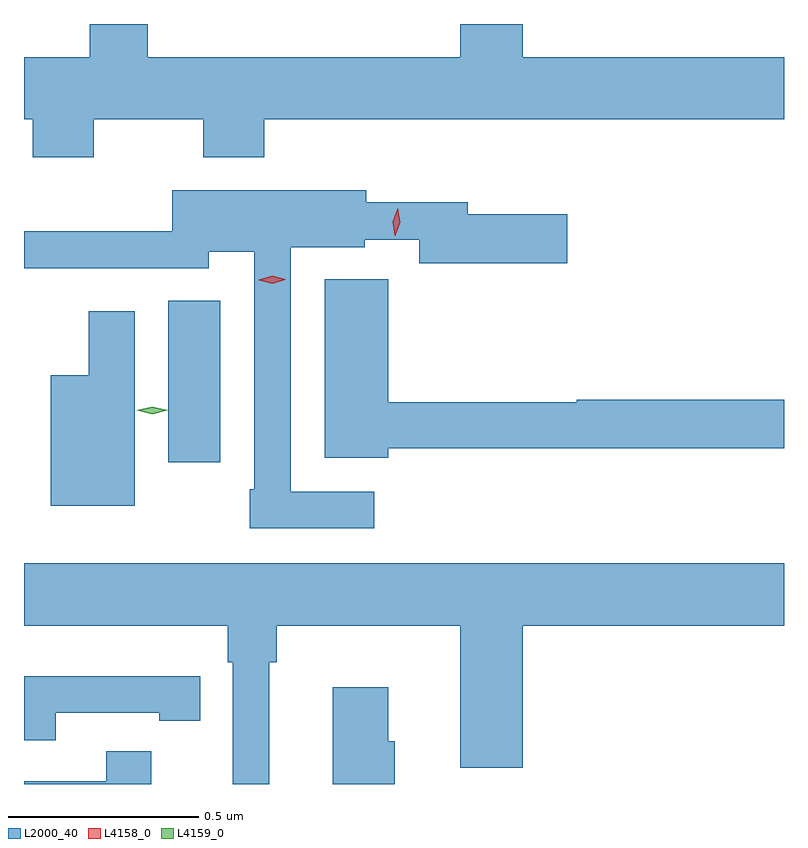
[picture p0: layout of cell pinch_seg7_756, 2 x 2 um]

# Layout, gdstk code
import gdstk
lib = gdstk.Library(unit=1e-6, precision=1e-09)
def R(c, l, rs):  # rectangles x0, y0, x1, y1
    for r in rs: c.add(gdstk.rectangle(r[:2], r[2:], *l))
def P(c, l, *ps):  # polygons
    for p in ps: c.add(gdstk.Polygon(p, *l))
L2000_40 = (2000, 40)
L4158_0 = (4158, 0)
L4159_0 = (4159, 0)

pinch_seg7_756 = lib.new_cell('pinch_seg7_756')
R(pinch_seg7_756, L2000_40, [(296.108,999.714,296.245,1000.139)])
P(pinch_seg7_756, L2000_40, [(295.911,1000.616),(296.2,1000.616),(296.2,1000.517),(296.36,1000.517),(296.36,1000.616),(297.728,1000.616),(297.728,1000.78),(297.04,1000.78),(297.04,1000.867),(296.876,1000.867),(296.876,1000.78),(296.053,1000.78),(296.053,1000.867),(295.901,1000.867),(295.901,1000.78),(295.728,1000.78),(295.728,1000.616),(295.751,1000.616),(295.751,1000.517),(295.911,1000.517)],
  [(296.65,999.636),(296.43,999.636),(296.43,1000.28),(296.625,1000.28),(296.625,1000.299),(296.768,1000.299),(296.768,1000.237),(297.157,1000.237),(297.157,1000.366),(296.896,1000.366),(296.896,1000.398),(296.629,1000.398),(296.629,1000.429),(296.118,1000.429),(296.118,1000.322),(295.728,1000.322),(295.728,1000.224),(296.214,1000.224),(296.214,1000.268),(296.334,1000.268),(296.334,999.643),(296.322,999.643),(296.322,999.54),(296.65,999.54)],
  [(296.686,999.75),(297.728,999.75),(297.728,999.878),(297.182,999.878),(297.182,999.871),(296.686,999.871),(296.686,1000.195),(296.519,1000.195),(296.519,999.725),(296.686,999.725)],
  [(296.02,1000.111),(295.898,1000.111),(295.898,999.943),(295.799,999.943),(295.799,999.599),(296.02,999.599)],
  [(296.374,999.188),(296.393,999.188),(296.393,999.284),(296.876,999.284),(296.876,998.91),(297.04,998.91),(297.04,999.284),(297.728,999.284),(297.728,999.448),(295.728,999.448),(295.728,999.284),(296.264,999.284),(296.264,999.188),(296.277,999.188),(296.277,998.867),(296.374,998.867)],
  [(295.812,999.054),(296.084,999.054),(296.084,999.034),(296.192,999.034),(296.192,999.15),(296.084,999.15),(296.084,999.151),(295.728,999.151),(295.728,998.982),(295.812,998.982)],
  [(296.704,998.979),(296.686,998.979),(296.686,999.121),(296.54,999.121),(296.54,998.867),(296.704,998.867)],
  [(296.063,998.953),(295.945,998.953),(295.945,998.874),(295.728,998.874),(295.728,998.867),(296.063,998.867)])
P(pinch_seg7_756, L4158_0, [(296.704,1000.31),(296.704,1000.31),(296.698,1000.347),(296.711,1000.382),(296.711,1000.382),(296.711,1000.382),(296.718,1000.345),(296.705,1000.31)],
  [(296.382,1000.184),(296.346,1000.193),(296.346,1000.193),(296.346,1000.194),(296.381,1000.204),(296.416,1000.195),(296.416,1000.195),(296.416,1000.194)])
P(pinch_seg7_756, L4159_0, [(296.066,999.84),(296.025,999.85),(296.025,999.85),(296.025,999.85),(296.066,999.86),(296.106,999.85),(296.107,999.85),(296.106,999.85)])

lib.write_gds('pinch_seg7_756.gds')
